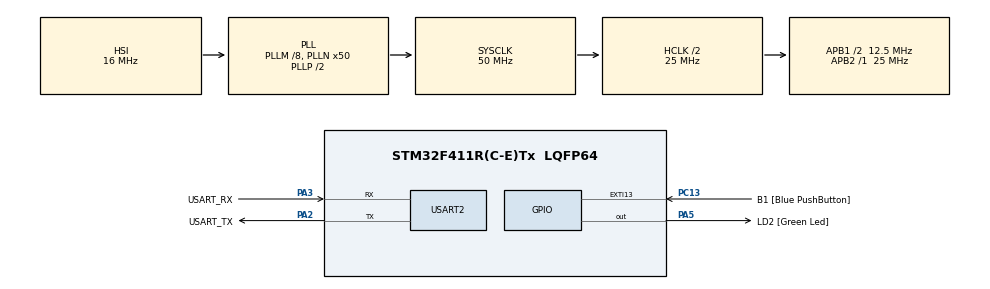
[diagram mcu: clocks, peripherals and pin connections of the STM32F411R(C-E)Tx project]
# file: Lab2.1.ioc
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Mcu.Family=STM32F4
Mcu.Name=STM32F411R(C-E)Tx
Mcu.Package=LQFP64
NVIC.EXTI15_10_IRQn=true\:2\:0\:true\:false\:true\:true\:true\:true
NVIC.PriorityGroup=NVIC_PRIORITYGROUP_2
PA13.GPIO_Label=TMS
PA13.Mode=Serial_Wire
PA13.Signal=SYS_JTMS-SWDIO
PA14.GPIO_Label=TCK
PA14.Mode=Serial_Wire
PA14.Signal=SYS_JTCK-SWCLK
PA2.GPIO_Label=USART_TX
PA2.Mode=Asynchronous
PA2.Signal=USART2_TX
PA3.GPIO_Label=USART_RX
PA3.Mode=Asynchronous
PA3.Signal=USART2_RX
PA5.GPIO_Label=LD2 [Green Led]
PA5.Signal=GPIO_Output
PB3.GPIO_Label=SWO
PB3.Signal=SYS_JTDO-SWO
PC13-ANTI_TAMP.GPIO_Label=B1 [Blue PushButton]
PC13-ANTI_TAMP.GPIO_ModeDefaultEXTI=GPIO_MODE_IT_FALLING
PC13-ANTI_TAMP.Signal=GPXTI13
PC14-OSC32_IN.Mode=LSE-External-Oscillator
PC14-OSC32_IN.Signal=RCC_OSC32_IN
PC15-OSC32_OUT.Mode=LSE-External-Oscillator
PC15-OSC32_OUT.Signal=RCC_OSC32_OUT
PH0\ -\ OSC_IN.Mode=HSE-External-Clock-Source
PH0\ -\ OSC_IN.Signal=RCC_OSC_IN
PH1\ -\ OSC_OUT.Mode=HSE-External-Clock-Source
PH1\ -\ OSC_OUT.Signal=RCC_OSC_OUT
ProjectManager.HeapSize=0x200
ProjectManager.StackSize=0x400
ProjectManager.TargetToolchain=STM32CubeIDE
RCC.48MHZClocksFreq_Value=25000000
RCC.AHBCLKDivider=RCC_SYSCLK_DIV2
RCC.AHBFreq_Value=25000000
RCC.APB1CLKDivider=RCC_HCLK_DIV2
RCC.APB1Freq_Value=12500000
RCC.APB1TimFreq_Value=25000000
RCC.APB2Freq_Value=25000000
RCC.APB2TimFreq_Value=25000000
RCC.CortexFreq_Value=25000000
RCC.FLatency-AdvancedSettings=FLASH_LATENCY_0
RCC.HCLKFreq_Value=25000000
RCC.HSE_VALUE=8000000
RCC.HSI_VALUE=16000000
RCC.PLLM=8
RCC.PLLN=50
RCC.SYSCLKFreq_VALUE=50000000
RCC.SYSCLKSource=RCC_SYSCLKSOURCE_PLLCLK
RCC.VCOOutputFreq_Value=100000000
USART2.VirtualMode=VM_ASYNC
board=NUCLEO-F411RE

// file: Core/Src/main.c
/* USER CODE BEGIN Header */
/**
  ******************************************************************************
  * @file           : main.c
  * @brief          : Main program body
  ******************************************************************************
  * @attention
  *
  * Copyright (c) 2023 STMicroelectronics.
  * All rights reserved.
  *
  * This software is licensed under terms that can be found in the LICENSE file
  * in the root directory of this software component.
  * If no LICENSE file comes with this software, it is provided AS-IS.
  *
  ******************************************************************************
  */
/* USER CODE END Header */
#include "main.h"

UART_HandleTypeDef huart2;

void SystemClock_Config(void);
static void MX_GPIO_Init(void);
static void MX_USART2_UART_Init(void);

/* USER CODE BEGIN 0 */

int state = 0;
int pressed = 1;
char array[5];
uint8_t data;
int run = 1;

void HAL_GPIO_EXTI_Callback(uint16_t GPIO_Pin){
	state++;
	HAL_Delay(10);
	__HAL_GPIO_EXTI_CLEAR_IT(GPIO_Pin);
}
/* USER CODE END 0 */

int main(void)
{

  /* MCU Configuration--------------------------------------------------------*/

  /* Reset of all peripherals, Initializes the Flash interface and the Systick. */
  HAL_Init();

  /* Configure the system clock */
  SystemClock_Config();

  /* Initialize all configured peripherals */
  MX_GPIO_Init();
  MX_USART2_UART_Init();

  /* Infinite loop */
  /* USER CODE BEGIN WHILE */
  while (1){
	  if (run == 0){
		  continue;
	  }
	 // if ((HAL_GPIO_ReadPin(GPIOC, GPIO_PIN_13)  == GPIO_PIN_RESET) && (pressed == 1)){
	 // 		  state += 1;
	 // 		  pressed = 0;
	 // 		  HAL_Delay(100);
	 // 	  }

	  //if ((HAL_GPIO_ReadPin(GPIOC, GPIO_PIN_13)  == GPIO_PIN_SET) && (pressed == 0)){
	 // 		  pressed = 1;
	  //		  HAL_Delay(100);
	  //	  }

	  if (HAL_UART_Receive(&huart2, &data, 1, 10) == HAL_OK){
		  array[1] = array[0];
		  array[0] = data;
		  HAL_UART_Transmit(&huart2, &data, 1, 10);
		  if (array[0] == '!' && array[1] == 'q'){
			  char out[20];
			  sprintf(&out,"Power Down");
			  HAL_UART_Transmit(&huart2, &out, strlen(out), 10);
			  run = 0;

		  }
	  }

	  	  if ( state == 0 ){
	  		  HAL_GPIO_WritePin(GPIOA, GPIO_PIN_5, GPIO_PIN_SET);
	  		  HAL_Delay(100);
	  		  HAL_GPIO_WritePin(GPIOA, GPIO_PIN_5, GPIO_PIN_RESET);
	  		  HAL_Delay(900);
	  	  } else if (state %2 == 1){
	  		  HAL_GPIO_WritePin(GPIOA, GPIO_PIN_5, GPIO_PIN_SET);
	  		  HAL_Delay(50);
	  		  HAL_GPIO_WritePin(GPIOA, GPIO_PIN_5, GPIO_PIN_RESET);
	  		  HAL_Delay(50);
	  	  } else{
	  		  HAL_GPIO_WritePin(GPIOA, GPIO_PIN_5, GPIO_PIN_SET);
	  		  HAL_Delay(500);
	  		  HAL_GPIO_WritePin(GPIOA, GPIO_PIN_5, GPIO_PIN_RESET);
	  		  HAL_Delay(500);
	  	  }
    /* USER CODE END WHILE */

  }
}

void SystemClock_Config(void)
{
  RCC_OscInitTypeDef RCC_OscInitStruct = {0};
  RCC_ClkInitTypeDef RCC_ClkInitStruct = {0};

  /** Configure the main internal regulator output voltage
  */
  __HAL_RCC_PWR_CLK_ENABLE();
  __HAL_PWR_VOLTAGESCALING_CONFIG(PWR_REGULATOR_VOLTAGE_SCALE1);

  /** Initializes the RCC Oscillators according to the specified parameters
  * in the RCC_OscInitTypeDef structure.
  */
  RCC_OscInitStruct.OscillatorType = RCC_OSCILLATORTYPE_HSI;
  RCC_OscInitStruct.HSIState = RCC_HSI_ON;
  RCC_OscInitStruct.HSICalibrationValue = RCC_HSICALIBRATION_DEFAULT;
  RCC_OscInitStruct.PLL.PLLState = RCC_PLL_ON;
  RCC_OscInitStruct.PLL.PLLSource = RCC_PLLSOURCE_HSI;
  RCC_OscInitStruct.PLL.PLLM = 8;
  RCC_OscInitStruct.PLL.PLLN = 50;
  RCC_OscInitStruct.PLL.PLLP = RCC_PLLP_DIV2;
  RCC_OscInitStruct.PLL.PLLQ = 4;
  if (HAL_RCC_OscConfig(&RCC_OscInitStruct) != HAL_OK)
  {
    Error_Handler();
  }

  /** Initializes the CPU, AHB and APB buses clocks
  */
  RCC_ClkInitStruct.ClockType = RCC_CLOCKTYPE_HCLK|RCC_CLOCKTYPE_SYSCLK
                              |RCC_CLOCKTYPE_PCLK1|RCC_CLOCKTYPE_PCLK2;
  RCC_ClkInitStruct.SYSCLKSource = RCC_SYSCLKSOURCE_PLLCLK;
  RCC_ClkInitStruct.AHBCLKDivider = RCC_SYSCLK_DIV2;
  RCC_ClkInitStruct.APB1CLKDivider = RCC_HCLK_DIV2;
  RCC_ClkInitStruct.APB2CLKDivider = RCC_HCLK_DIV1;

  if (HAL_RCC_ClockConfig(&RCC_ClkInitStruct, FLASH_LATENCY_0) != HAL_OK)
  {
    Error_Handler();
  }
}

static void MX_USART2_UART_Init(void)
{

  huart2.Instance = USART2;
  huart2.Init.BaudRate = 115200;
  huart2.Init.WordLength = UART_WORDLENGTH_8B;
  huart2.Init.StopBits = UART_STOPBITS_1;
  huart2.Init.Parity = UART_PARITY_NONE;
  huart2.Init.Mode = UART_MODE_TX_RX;
  huart2.Init.HwFlowCtl = UART_HWCONTROL_NONE;
  huart2.Init.OverSampling = UART_OVERSAMPLING_16;
  if (HAL_UART_Init(&huart2) != HAL_OK)
  {
    Error_Handler();
  }

}

static void MX_GPIO_Init(void)
{
  GPIO_InitTypeDef GPIO_InitStruct = {0};

  /* GPIO Ports Clock Enable */
  __HAL_RCC_GPIOC_CLK_ENABLE();
  __HAL_RCC_GPIOH_CLK_ENABLE();
  __HAL_RCC_GPIOA_CLK_ENABLE();
  __HAL_RCC_GPIOB_CLK_ENABLE();

  /*Configure GPIO pin Output Level */
  HAL_GPIO_WritePin(LD2_GPIO_Port, LD2_Pin, GPIO_PIN_RESET);

  /*Configure GPIO pin : B1_Pin */
  GPIO_InitStruct.Pin = B1_Pin;
  GPIO_InitStruct.Mode = GPIO_MODE_IT_FALLING;
  GPIO_InitStruct.Pull = GPIO_NOPULL;
  HAL_GPIO_Init(B1_GPIO_Port, &GPIO_InitStruct);

  /*Configure GPIO pin : LD2_Pin */
  GPIO_InitStruct.Pin = LD2_Pin;
  GPIO_InitStruct.Mode = GPIO_MODE_OUTPUT_PP;
  GPIO_InitStruct.Pull = GPIO_NOPULL;
  GPIO_InitStruct.Speed = GPIO_SPEED_FREQ_LOW;
  HAL_GPIO_Init(LD2_GPIO_Port, &GPIO_InitStruct);

  /* EXTI interrupt init*/
  HAL_NVIC_SetPriority(EXTI15_10_IRQn, 2, 0);
  HAL_NVIC_EnableIRQ(EXTI15_10_IRQn);

}

void Error_Handler(void)
{
  __disable_irq();
  while (1)
  {
  }
}
